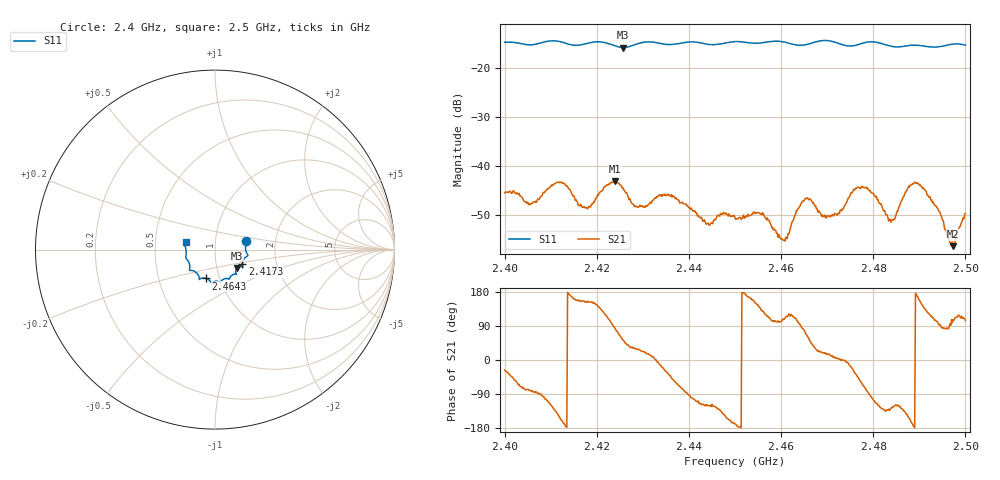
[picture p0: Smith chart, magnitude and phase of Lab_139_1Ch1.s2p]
# Hz S RI R 50
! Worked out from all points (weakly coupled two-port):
!   601 points, 2.4 GHz to 2.5 GHz, reference 50 ohm
!   highest |S21| = -43.11 dB at 2.424 GHz (marker M1); lowest = -56.2 dB at 2.4973 GHz (marker M2)
!   lowest |S11| = -15.9 dB at 2.4257 GHz (marker M3), VSWR 1.38, Z = 62.4 - j13.1 ohm
!   |S11| at or under -10 dB: start of sweep to end of sweep
!   S12 and S22 are empty: the file has one direction only
!   S11 on the Smith chart (normalised r, x): 2.4 GHz: 1.41, +0.14; 2.4173 GHz: 1.34, -0.23; 2.4643 GHz: 0.86, -0.28; 2.5 GHz: 0.72, +0.06
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2.4e9  0.1734 0.0495  0.00479 -0.00239  0 0  0 0
2.405667e9  0.1701 0.00491  0.000704 -0.00404  0 0  0 0
2.412167e9  0.1787 -0.037  -0.00634 -0.00273  0 0  0 0
2.416667e9  0.1529 -0.0747  -0.00358 0.00167  0 0  0 0
2.417333e9  0.1523 -0.0822  -0.00352 0.00164  0 0  0 0
2.424e9  0.1362 -0.0941  0.000885 0.00693  0 0  0 0
2.425667e9  0.1225 -0.1024  0.00359 0.00487  0 0  0 0
2.428667e9  0.1155 -0.129  0.00339 0.00189  0 0  0 0
2.433333e9  0.1128 -0.1366  0.00501 -0.000593  0 0  0 0
2.444167e9  0.0616 -0.1604  -0.00132 -0.0023  0 0  0 0
2.45e9  0.0298 -0.1807  -0.00292 -0.0006  0 0  0 0
2.455667e9  -0.00414 -0.1776  -0.0022 0.00247  0 0  0 0
2.460833e9  -0.0252 -0.179  -0.000584 0.00164  0 0  0 0
2.464333e9  -0.0502 -0.1604  9.01e-05 0.00418  0 0  0 0
2.466667e9  -0.0761 -0.1599  0.00322 0.00301  0 0  0 0
2.471e9  -0.087 -0.1629  0.00308 0.00061  0 0  0 0
2.478167e9  -0.1363 -0.1159  0.00173 -0.00577  0 0  0 0
2.483333e9  -0.1407 -0.0896  -0.00177 -0.00214  0 0  0 0
2.489333e9  -0.1626 -0.0446  -0.00661 0.000736  0 0  0 0
2.494e9  -0.1618 -0.00137  -0.000655 0.00367  0 0  0 0
2.497333e9  -0.1707 0.0279  -0.00044 0.00148  0 0  0 0
2.5e9  -0.1637 0.0421  -0.000821 0.00321  0 0  0 0
